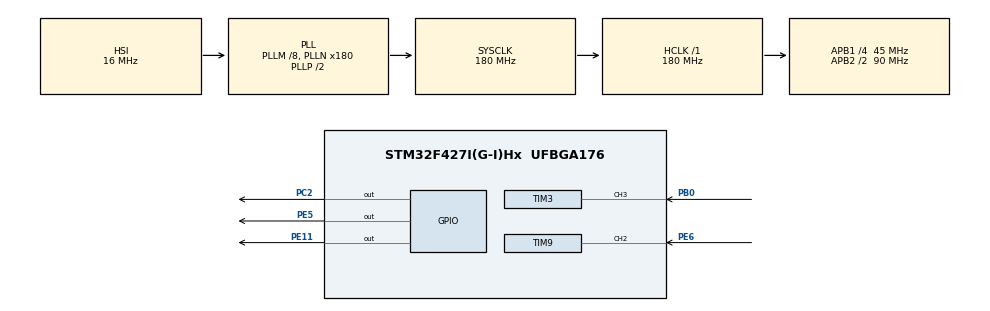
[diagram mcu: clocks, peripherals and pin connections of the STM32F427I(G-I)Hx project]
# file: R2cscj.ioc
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Mcu.Family=STM32F4
Mcu.Name=STM32F427I(G-I)Hx
Mcu.Package=UFBGA176
NVIC.PriorityGroup=NVIC_PRIORITYGROUP_4
NVIC.TIM1_BRK_TIM9_IRQn=true\:0\:0\:false\:false\:true\:true\:true\:true
NVIC.TIM3_IRQn=true\:0\:0\:false\:false\:true\:true\:true\:true
PA13.Mode=Serial_Wire
PA13.Signal=SYS_JTMS-SWDIO
PA14.Mode=Serial_Wire
PA14.Signal=SYS_JTCK-SWCLK
PB0.Signal=S_TIM3_CH3
PC2.Signal=GPIO_Output
PE11.Signal=GPIO_Output
PE5.Signal=GPIO_Output
PE6.Signal=S_TIM9_CH2
PH0/OSC_IN.Mode=HSE-External-Oscillator
PH0/OSC_IN.Signal=RCC_OSC_IN
PH1/OSC_OUT.Mode=HSE-External-Oscillator
PH1/OSC_OUT.Signal=RCC_OSC_OUT
ProjectManager.HeapSize=0x200
ProjectManager.StackSize=0x400
ProjectManager.TargetToolchain=MDK-ARM V5
RCC.48MHZClocksFreq_Value=90000000
RCC.AHBFreq_Value=180000000
RCC.APB1CLKDivider=RCC_HCLK_DIV4
RCC.APB1Freq_Value=45000000
RCC.APB1TimFreq_Value=90000000
RCC.APB2CLKDivider=RCC_HCLK_DIV2
RCC.APB2Freq_Value=90000000
RCC.APB2TimFreq_Value=180000000
RCC.CortexFreq_Value=180000000
RCC.HCLKFreq_Value=180000000
RCC.HSE_VALUE=25000000
RCC.HSI_VALUE=16000000
RCC.LSE_VALUE=32768
RCC.PLLM=8
RCC.PLLN=180
RCC.SYSCLKFreq_VALUE=180000000
RCC.SYSCLKSource=RCC_SYSCLKSOURCE_PLLCLK
RCC.VCOOutputFreq_Value=360000000
SH.S_TIM3_CH3.0=TIM3_CH3,Input_Capture3_from_TI3
SH.S_TIM9_CH2.0=TIM9_CH2,Input_Capture2_from_TI2
TIM3.Channel-Input_Capture3_from_TI3=TIM_CHANNEL_3
TIM3.Period=999
TIM3.Prescaler=179
TIM9.Channel-Input_Capture2_from_TI2=TIM_CHANNEL_2
TIM9.Period=999
TIM9.Prescaler=179
VP_TIM3_VS_ClockSourceINT.Mode=Internal
VP_TIM9_VS_ClockSourceINT.Mode=Internal
board=custom

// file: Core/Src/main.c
/* USER CODE BEGIN Header */
/**
  ******************************************************************************
  * @file           : main.c
  * @brief          : Main program body
  ******************************************************************************
  * @attention
  *
  * Copyright (c) 2022 STMicroelectronics.
  * All rights reserved.
  *
  * This software is licensed under terms that can be found in the LICENSE file
  * in the root directory of this software component.
  * If no LICENSE file comes with this software, it is provided AS-IS.
  *
  ******************************************************************************
  */
/* USER CODE END Header */
#include "main.h"
#include "tim.h"
#include "gpio.h"

/* USER CODE BEGIN Includes */
#include "cscj.h"
/* USER CODE END Includes */

void SystemClock_Config(void);

int main(void)
{

  /* MCU Configuration--------------------------------------------------------*/

  /* Reset of all peripherals, Initializes the Flash interface and the Systick. */
  HAL_Init();

  /* Configure the system clock */
  SystemClock_Config();

  /* Initialize all configured peripherals */
  MX_GPIO_Init();
  MX_TIM3_Init();
  MX_TIM9_Init();
  /* USER CODE BEGIN 2 */
HAL_TIM_IC_Start_IT(&htim9,TIM_CHANNEL_2);
HAL_TIM_Base_Start_IT(&htim9);
HAL_TIM_IC_Start_IT(&htim3,TIM_CHANNEL_3);
HAL_TIM_Base_Start_IT(&htim3);
  /* USER CODE END 2 */

  /* Infinite loop */
  /* USER CODE BEGIN WHILE */
  while (1)
  {
		HAL_GPIO_WritePin(GPIOE,GPIO_PIN_11,GPIO_PIN_RESET);
		//HAL_Delay(500);
		//HAL_GPIO_WritePin(GPIOC,GPIO_PIN_13,GPIO_PIN_SET);
		//HAL_Delay(500);
		HAL_GPIO_WritePin(GPIOE,GPIO_PIN_5,GPIO_PIN_RESET);
		delay_us(3);
		HAL_GPIO_WritePin(GPIOE,GPIO_PIN_5,GPIO_PIN_SET);
		delay_us(30);
		HAL_GPIO_WritePin(GPIOE,GPIO_PIN_5,GPIO_PIN_RESET);
		HAL_GPIO_WritePin(GPIOC,GPIO_PIN_2,GPIO_PIN_RESET);
		delay_us(3);
		HAL_GPIO_WritePin(GPIOC,GPIO_PIN_2,GPIO_PIN_SET);
		delay_us(30);
		HAL_GPIO_WritePin(GPIOC,GPIO_PIN_2,GPIO_PIN_RESET);
		HAL_Delay(10);
    /* USER CODE END WHILE */

  }
}

void SystemClock_Config(void)
{
  RCC_OscInitTypeDef RCC_OscInitStruct = {0};
  RCC_ClkInitTypeDef RCC_ClkInitStruct = {0};

  /** Configure the main internal regulator output voltage
  */
  __HAL_RCC_PWR_CLK_ENABLE();
  __HAL_PWR_VOLTAGESCALING_CONFIG(PWR_REGULATOR_VOLTAGE_SCALE1);

  /** Initializes the RCC Oscillators according to the specified parameters
  * in the RCC_OscInitTypeDef structure.
  */
  RCC_OscInitStruct.OscillatorType = RCC_OSCILLATORTYPE_HSI;
  RCC_OscInitStruct.HSIState = RCC_HSI_ON;
  RCC_OscInitStruct.HSICalibrationValue = RCC_HSICALIBRATION_DEFAULT;
  RCC_OscInitStruct.PLL.PLLState = RCC_PLL_ON;
  RCC_OscInitStruct.PLL.PLLSource = RCC_PLLSOURCE_HSI;
  RCC_OscInitStruct.PLL.PLLM = 8;
  RCC_OscInitStruct.PLL.PLLN = 180;
  RCC_OscInitStruct.PLL.PLLP = RCC_PLLP_DIV2;
  RCC_OscInitStruct.PLL.PLLQ = 4;
  if (HAL_RCC_OscConfig(&RCC_OscInitStruct) != HAL_OK)
  {
    Error_Handler();
  }

  /** Activate the Over-Drive mode
  */
  if (HAL_PWREx_EnableOverDrive() != HAL_OK)
  {
    Error_Handler();
  }

  /** Initializes the CPU, AHB and APB buses clocks
  */
  RCC_ClkInitStruct.ClockType = RCC_CLOCKTYPE_HCLK|RCC_CLOCKTYPE_SYSCLK
                              |RCC_CLOCKTYPE_PCLK1|RCC_CLOCKTYPE_PCLK2;
  RCC_ClkInitStruct.SYSCLKSource = RCC_SYSCLKSOURCE_PLLCLK;
  RCC_ClkInitStruct.AHBCLKDivider = RCC_SYSCLK_DIV1;
  RCC_ClkInitStruct.APB1CLKDivider = RCC_HCLK_DIV4;
  RCC_ClkInitStruct.APB2CLKDivider = RCC_HCLK_DIV2;

  if (HAL_RCC_ClockConfig(&RCC_ClkInitStruct, FLASH_LATENCY_5) != HAL_OK)
  {
    Error_Handler();
  }
}

void Error_Handler(void)
{
  __disable_irq();
  while (1)
  {
  }
}
